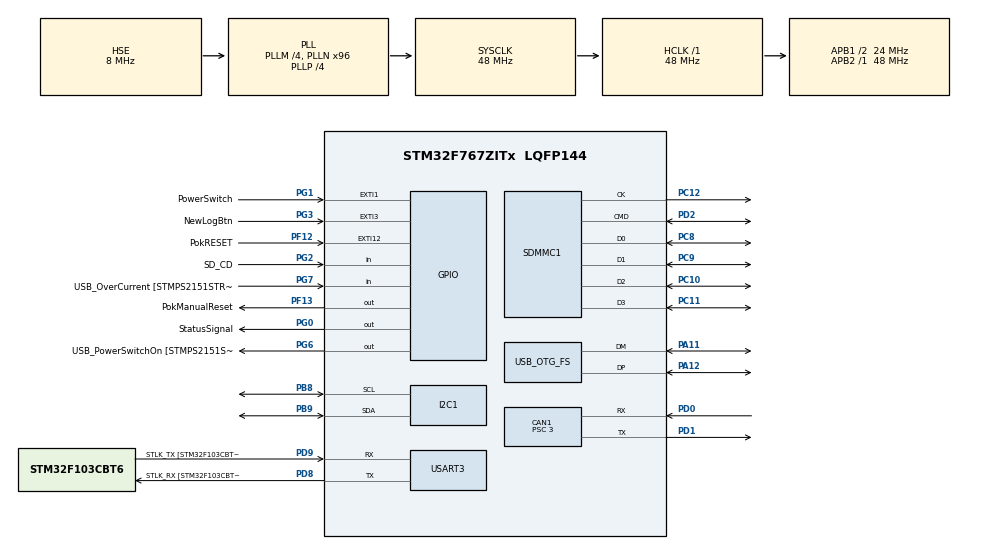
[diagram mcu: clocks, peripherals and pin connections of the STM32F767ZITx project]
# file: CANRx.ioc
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CAN1.BS1=CAN_BS1_13TQ
CAN1.BS2=CAN_BS2_2TQ
CAN1.CalculateBaudRate=500000
CAN1.CalculateTimeBit=2000
CAN1.CalculateTimeQuantum=125.0
CAN1.Prescaler=3
Dma.Request0=SDMMC1_RX
Dma.Request1=SDMMC1_TX
Dma.SDMMC1_RX.0.Direction=DMA_PERIPH_TO_MEMORY
Dma.SDMMC1_RX.0.FIFOMode=DMA_FIFOMODE_ENABLE
Dma.SDMMC1_RX.0.FIFOThreshold=DMA_FIFO_THRESHOLD_FULL
Dma.SDMMC1_RX.0.Instance=DMA2_Stream3
Dma.SDMMC1_RX.0.MemBurst=DMA_MBURST_INC4
Dma.SDMMC1_RX.0.MemDataAlignment=DMA_MDATAALIGN_WORD
Dma.SDMMC1_RX.0.MemInc=DMA_MINC_ENABLE
Dma.SDMMC1_RX.0.Mode=DMA_PFCTRL
Dma.SDMMC1_RX.0.PeriphBurst=DMA_PBURST_INC4
Dma.SDMMC1_RX.0.PeriphDataAlignment=DMA_PDATAALIGN_WORD
Dma.SDMMC1_RX.0.PeriphInc=DMA_PINC_DISABLE
Dma.SDMMC1_RX.0.Priority=DMA_PRIORITY_LOW
Dma.SDMMC1_TX.1.Direction=DMA_MEMORY_TO_PERIPH
Dma.SDMMC1_TX.1.FIFOMode=DMA_FIFOMODE_ENABLE
Dma.SDMMC1_TX.1.FIFOThreshold=DMA_FIFO_THRESHOLD_FULL
Dma.SDMMC1_TX.1.Instance=DMA2_Stream6
Dma.SDMMC1_TX.1.MemBurst=DMA_MBURST_INC4
Dma.SDMMC1_TX.1.MemDataAlignment=DMA_MDATAALIGN_WORD
Dma.SDMMC1_TX.1.MemInc=DMA_MINC_ENABLE
Dma.SDMMC1_TX.1.Mode=DMA_PFCTRL
Dma.SDMMC1_TX.1.PeriphBurst=DMA_PBURST_INC4
Dma.SDMMC1_TX.1.PeriphDataAlignment=DMA_PDATAALIGN_WORD
Dma.SDMMC1_TX.1.PeriphInc=DMA_PINC_DISABLE
Dma.SDMMC1_TX.1.Priority=DMA_PRIORITY_LOW
FATFS.BSP.number=1
FATFS.USE_DMA_CODE_SD=0
FATFS._USE_LFN=1
FATFS0.BSP.STBoard=false
FATFS0.BSP.api=Unknown
FATFS0.BSP.instance=PG2
FATFS0.BSP.ip=GPIO
FATFS0.BSP.mode=Input
FATFS0.BSP.name=Detect_SDIO
FATFS0.BSP.solution=PG2
I2C1.Timing=0x00506682
Mcu.Family=STM32F7
Mcu.Name=STM32F767ZITx
Mcu.Package=LQFP144
NVIC.CAN1_RX0_IRQn=true\:0\:0\:false\:false\:true\:true\:true\:true
NVIC.DMA2_Stream3_IRQn=true\:0\:0\:false\:false\:true\:false\:true\:true
NVIC.DMA2_Stream6_IRQn=true\:0\:0\:false\:false\:true\:false\:true\:true
NVIC.EXTI15_10_IRQn=true\:0\:0\:false\:false\:true\:true\:true\:true
NVIC.EXTI1_IRQn=true\:0\:0\:false\:false\:true\:true\:true\:true
NVIC.EXTI3_IRQn=true\:0\:0\:false\:false\:true\:true\:true\:true
NVIC.OTG_FS_IRQn=true\:0\:0\:false\:false\:true\:true\:true\:true
NVIC.PriorityGroup=NVIC_PRIORITYGROUP_4
NVIC.SDMMC1_IRQn=true\:0\:0\:false\:false\:true\:true\:true\:true
PA11.Mode=Device_Only
PA11.Signal=USB_OTG_FS_DM
PA12.Mode=Device_Only
PA12.Signal=USB_OTG_FS_DP
PA13.GPIO_Label=TMS
PA13.Mode=Serial_Wire
PA13.Signal=SYS_JTMS-SWDIO
PA14.GPIO_Label=TCK
PA14.Mode=Serial_Wire
PA14.Signal=SYS_JTCK-SWCLK
PB8.Mode=I2C
PB8.Signal=I2C1_SCL
PB9.Mode=I2C
PB9.Signal=I2C1_SDA
PC10.Mode=SD_4_bits_Wide_bus
PC10.Signal=SDMMC1_D2
PC11.Mode=SD_4_bits_Wide_bus
PC11.Signal=SDMMC1_D3
PC12.Mode=SD_4_bits_Wide_bus
PC12.Signal=SDMMC1_CK
PC14/OSC32_IN.Signal=RCC_OSC32_IN
PC15/OSC32_OUT.Signal=RCC_OSC32_OUT
PC8.GPIO_Mode=GPIO_MODE_AF_PP
PC8.GPIO_PuPd=GPIO_NOPULL
PC8.GPIO_Speed_High_Default=GPIO_SPEED_FREQ_VERY_HIGH
PC8.Mode=SD_4_bits_Wide_bus
PC8.Signal=SDMMC1_D0
PC9.Mode=SD_4_bits_Wide_bus
PC9.Signal=SDMMC1_D1
PD0.Mode=CAN_Activate
PD0.Signal=CAN1_RX
PD1.Mode=CAN_Activate
PD1.Signal=CAN1_TX
PD2.GPIO_Mode=GPIO_MODE_AF_PP
PD2.GPIO_PuPd=GPIO_NOPULL
PD2.GPIO_Speed_High_Default=GPIO_SPEED_FREQ_VERY_HIGH
PD2.Mode=SD_4_bits_Wide_bus
PD2.Signal=SDMMC1_CMD
PD8.GPIO_Label=STLK_RX [STM32F103CBT6_PA3]
PD8.Mode=Asynchronous
PD8.Signal=USART3_TX
PD9.GPIO_Label=STLK_TX [STM32F103CBT6_PA2]
PD9.Mode=Asynchronous
PD9.Signal=USART3_RX
PE11.Signal=S_CKIN4DFSDM1
PF12.GPIO_Label=PokRESET
PF12.GPIO_ModeDefaultEXTI=GPIO_MODE_IT_RISING_FALLING
PF12.Signal=GPXTI12
PF13.GPIO_Label=PokManualReset
PF13.Signal=GPIO_Output
PG0.GPIO_Label=StatusSignal
PG0.GPIO_ModeDefaultOutputPP=GPIO_MODE_OUTPUT_PP
PG0.GPIO_PuPd=GPIO_NOPULL
PG0.Signal=GPIO_Output
PG1.GPIO_Label=PowerSwitch
PG1.GPIO_ModeDefaultEXTI=GPIO_MODE_IT_RISING_FALLING
PG1.Signal=GPXTI1
PG2.GPIO_Label=SD_CD
PG2.Signal=GPIO_Input
PG3.GPIO_Label=NewLogBtn
PG3.GPIO_ModeDefaultEXTI=GPIO_MODE_IT_RISING
PG3.Signal=GPXTI3
PG6.GPIO_Label=USB_PowerSwitchOn [STMPS2151STR_EN]
PG6.Signal=GPIO_Output
PG7.GPIO_Label=USB_OverCurrent [STMPS2151STR_FAULT]
PG7.Signal=GPIO_Input
PH0/OSC_IN.GPIO_Label=MCO [STM32F103CBT6_PA8]
PH0/OSC_IN.Mode=HSE-External-Oscillator
PH0/OSC_IN.Signal=RCC_OSC_IN
PH1/OSC_OUT.Mode=HSE-External-Oscillator
PH1/OSC_OUT.Signal=RCC_OSC_OUT
ProjectManager.HeapSize=0x200
ProjectManager.StackSize=0x400
ProjectManager.TargetToolchain=STM32CubeIDE
RCC.48MHZClocksFreq_Value=24000000
RCC.AHBFreq_Value=48000000
RCC.APB1CLKDivider=RCC_HCLK_DIV2
RCC.APB1Freq_Value=24000000
RCC.APB1TimFreq_Value=48000000
RCC.APB2Freq_Value=48000000
RCC.APB2TimFreq_Value=48000000
RCC.CortexFreq_Value=48000000
RCC.HCLKFreq_Value=48000000
RCC.HSE_VALUE=8000000
RCC.HSI_VALUE=16000000
RCC.LSE_VALUE=32768
RCC.PLLM=4
RCC.PLLMUL=RCC_PLL_MUL9
RCC.PLLN=96
RCC.PLLP=RCC_PLLP_DIV4
RCC.PLLQ=4
RCC.PRESCALERUSB=RCC_USBCLKSOURCE_PLL_DIV1_5
RCC.RTCClockSelection=RCC_RTCCLKSOURCE_LSE
RCC.SYSCLKFreq_VALUE=48000000
RCC.SYSCLKSource=RCC_SYSCLKSOURCE_PLLCLK
RCC.SYSCLKSourceVirtual=RCC_SYSCLKSOURCE_PLLCLK
RCC.USBFreq_Value=48000000
RCC.VCOOutputFreq_Value=192000000
SDMMC1.ClockDiv=3
SDMMC1.HardwareFlowControl=SDMMC_HARDWARE_FLOW_CONTROL_ENABLE
SH.S_CKIN4DFSDM1.0=DFSDM1_CKIN4
USART3.VirtualMode-Asynchronous=VM_ASYNC
USB_DEVICE.CLASS_NAME_FS=CDC
USB_DEVICE.VirtualMode-CDC_FS=Cdc
USB_DEVICE.VirtualModeFS=Cdc_FS
USB_OTG_FS.VirtualMode=Device_Only
VP_FATFS_VS_SDIO.Mode=SDIO
VP_USB_DEVICE_VS_USB_DEVICE_CDC_FS.Mode=CDC_FS
board=NUCLEO-F767ZI

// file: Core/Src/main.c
/* USER CODE BEGIN Header */
/**
 ******************************************************************************
 * @file           : main.c
 * @brief          : Main program body
 ******************************************************************************
 * @attention
 *
 * Copyright (c) 2023 STMicroelectronics.
 * All rights reserved.
 *
 * This software is licensed under terms that can be found in the LICENSE file
 * in the root directory of this software component.
 * If no LICENSE file comes with this software, it is provided AS-IS.
 *
 ******************************************************************************
 */
/* USER CODE END Header */
#include "main.h"
#include "fatfs.h"
#include "usb_device.h"

/* USER CODE BEGIN Includes */
#include "usbd_cdc_if.h"
#include "ds1307_for_stm32_hal.h"
#include "inttypes.h"
/* USER CODE END Includes */

/* USER CODE BEGIN PM */

#define VERBOSE_DEBUGGING
#define DEFAULT_RETRIES 3
//#define SET_RTC_TIME
/* USER CODE END PM */

CAN_HandleTypeDef hcan1;

I2C_HandleTypeDef hi2c1;

SD_HandleTypeDef hsd1;
DMA_HandleTypeDef hdma_sdmmc1_rx;
DMA_HandleTypeDef hdma_sdmmc1_tx;

UART_HandleTypeDef huart3;

/* USER CODE BEGIN PV */
//Errors of our CAN DECODER
typedef enum {
	SD_CARD_MISSING,
	DMA_INIT_FAILED,
	SDMMC_INIT_FAILED,
	FATFS_INIT_FAILED,
	CAN_FILTER_CONFIG_FAILED,
	HAL_CAN_START_FAILED,
	SD_MOUNTING_FAILED,
	PERIPHERAL_INIT_SUCCESSFUL,
	LOG_CREATION_SUCCESSFUL,
	DATA_DIRECTORY_CREATION_UNSUCCESSFUL,
	NEW_LOG_FILE_CREATION_FAILED
} CANRX_ERROR_T;
/* USER CODE END PV */

void SystemClock_Config(void);
static void MX_GPIO_Init(void);
static void MX_DMA_Init(void);
static void MX_CAN1_Init(void);
static HAL_StatusTypeDef MX_SDMMC1_SD_Init(void);
static void MX_USART3_UART_Init(void);
static void MX_I2C1_Init(void);
/* USER CODE BEGIN PFP */
static HAL_StatusTypeDef CAN_Filter_Config(void);
static CANRX_ERROR_T INIT_PERIPHERALS(void);
static CANRX_ERROR_T CREATE_NEW_LOG(void);
#define PUTCHAR_PROTOTYPE int __io_putchar(int ch)
#define ENCODED_CAN_SIZE_BYTES 37
#define CAN_MESSAGES_PER_BUFFER 512
#define NUM_BUFFERS 4
#define BUFFER_TOTAL_SIZE ENCODED_CAN_SIZE_BYTES*CAN_MESSAGES_PER_BUFFER
#define FILENAME_MAX_BYTES 256
/* USER CODE END PFP */

/* USER CODE BEGIN 0 */
FRESULT res;
DIR dir;		//Directory
FILINFO fno;	// File Info
const char *data_directory = "/CAN_DATA";

uint8_t POWER_SWITCH_PIN;
uint8_t NEW_LOG_FLAG;
uint8_t POWER_OKAY;
char data_buffer[NUM_BUFFERS][BUFFER_TOTAL_SIZE + 1]; // plus one for \00
uint16_t buffer_fill_level[NUM_BUFFERS];
uint8_t buffer_writing_to;
uint8_t buffer_reading_from;
uint8_t CAN_notifications_deactivated = 0;

FRESULT fresult_rc;

uint32_t tick_when_can_deactivated_last = 0;
uint32_t total_ticks_with_can_deactivated = 0;
/**
 * Not used, but previously used for getting milliseconds since epoch
 */
//uint8_t curr_date;
//uint8_t curr_month;
//uint8_t curr_year;
//uint8_t curr_hour;
//uint8_t curr_minute;
//uint8_t curr_second;
//uint32_t starting_tick;
//uint64_t starting_timestamp_ms;

/* USER CODE END 0 */

int main(void)
{

  /* MCU Configuration--------------------------------------------------------*/

  /* Reset of all peripherals, Initializes the Flash interface and the Systick. */
  HAL_Init();

  /* Configure the system clock */
  SystemClock_Config();

  /* Initialize all configured peripherals */
  MX_GPIO_Init();
  MX_DMA_Init();
  MX_CAN1_Init();
  MX_SDMMC1_SD_Init();
  MX_USART3_UART_Init();
  MX_FATFS_Init();
  MX_USB_DEVICE_Init();
  MX_I2C1_Init();
  /* USER CODE BEGIN 2 */
  DS1307_Init(&hi2c1);

#ifdef SET_RTC_TIME
  /**
   * @brief Sets the current day of week.
   * @param dayOfWeek Days since last Sunday, 0 to 6.
   */
  DS1307_SetDayOfWeek(3);

  /**
   * @brief Sets the current day of month.
   * @param date Day of month, 1 to 31.
   */
  DS1307_SetDate(28);

  /**
   * @brief Sets the current month.
   * @param month Month, 1 to 12.
   */
  DS1307_SetMonth(2);

  /**
   * @brief Sets the current year.
   * @param year Year, 2000 to 2099.
   */
  DS1307_SetYear(24);

  /**
   * @brief Sets the current hour, in 24h format.
   * @param hour_24mode Hour in 24h format, 0 to 23.
   */
  DS1307_SetHour(3);

  /**
   * @brief Sets the current minute.
   * @param minute Minute, 0 to 59.
   */
  DS1307_SetMinute(40);

  /**
   * @brief Sets the current second.
   * @param second Second, 0 to 59.
   */
  DS1307_SetSecond(0);

  /**
   * @brief Sets UTC offset.
   * @note  UTC offset is not updated automatically.
   * @param hr UTC hour offset, -12 to 12.
   * @param min UTC minute offset, 0 to 59.
   */
  DS1307_SetTimeZone(0, 0);

#endif

	//States of our CAN DECODER
	typedef enum {
		TURN_ON,
		PERIPHERAL_INIT,
		CREATE_LOG_FILE,
		STANDBY,
		PERIPHERAL_ERROR,
		SWITCH_BUFFER,
		SD_CARD_WRITE,
		SD_CARD_WRITE_ERROR,
		USB_TRANSMIT,
		USB_TRANSMIT_ERROR,
		RESET_BUFFER,
		RESET_STATE,
		POWER_OFF
	} state_t;

	//Starting state is PERIPHERAL_INIT
	state_t state = TURN_ON;
	uint32_t byteswritten; /* File write/read counts */
	uint8_t writing_failed = 0;
  /* USER CODE END 2 */

  /* Infinite loop */
  /* USER CODE BEGIN WHILE */
	while (1) {
		switch (state) {

		/**
		 * State: TURN_ON
		 *
		 * Description: Initializes middleware functions for working with
		 * SD card. Decides if the device is on or off
		 *
		 *
		 * Transition in:
		 * 	Starting state
		 * 	From POWER_OFF if power switch is in the on position
		 * 	From RESET_BUFFER if power switch is in the on position (button was pressed)
		 *
		 * Transition out:
		 * 	If power switch is set to on position -> PERIFPHERAL_INIT
		 * 	else (power switch is set to off) -> POWER_OFF
		 */
		case TURN_ON:
			HAL_GPIO_WritePin(PokManualReset_GPIO_Port, PokManualReset_Pin, GPIO_PIN_SET);
			POWER_SWITCH_PIN = HAL_GPIO_ReadPin(PowerSwitch_GPIO_Port, PowerSwitch_Pin);
			POWER_OKAY = HAL_GPIO_ReadPin(PokRESET_GPIO_Port, PokRESET_Pin);
			state = POWER_SWITCH_PIN ? PERIPHERAL_INIT : POWER_OFF;
			NEW_LOG_FLAG = 0;
			break;

		/**
		 * State: PERIPHERAL_INIT
		 *
		 * Description: Empties data buffers, initializes CAN, and mounts SD card
		 *
		 * Transition in:
		 * 	From TURN_ON when power switch is set to on position
		 *
		 * Transition out:
		 * 	Always -> CREATE_LOG_FILE
		 */
		case PERIPHERAL_INIT:
#ifdef VERBOSE_DEBUGGING
			printf("Initializing with %d buffers storing %d messages\r\n", NUM_BUFFERS, CAN_MESSAGES_PER_BUFFER);
#endif
			// Reset both buffers
			for (int buffer_num = 0; buffer_num < NUM_BUFFERS; buffer_num++) {
				data_buffer[buffer_num][0] = '\00';
				buffer_fill_level[buffer_num] = 0;
			}

			buffer_writing_to = 0;
			buffer_reading_from = 0;
			CAN_notifications_deactivated = 0;

			CANRX_ERROR_T ERROR_CODE = INIT_PERIPHERALS();
			if (ERROR_CODE != PERIPHERAL_INIT_SUCCESSFUL) {
				HAL_CAN_Stop(&hcan1);
				HAL_Delay(1000);
				state = TURN_ON;
				break;
			}
			else {
				state = CREATE_LOG_FILE;
			}
			break;

		/**
		 * State: CREATE_LOG_FILE
		 *
		 * Description: Updates date/time info, names current log with current time, starts to receive CAN messages
		 *
		 * Transition in:
		 * 	From PERIPHERAL_INIT, always
		 *
		 * Transition out:
		 * 	Always -> STANDBY
		 */
		case CREATE_LOG_FILE:
#ifdef VERBOSE_DEBUGGING
			printf("Creating new log file...\r\n");
#endif
			if (CREATE_NEW_LOG() != LOG_CREATION_SUCCESSFUL) {
				state = RESET_STATE;
				break;
			}
			// Starting CANRx interrupts
			if (HAL_CAN_ActivateNotification(&hcan1,
					CAN_IT_RX_FIFO0_MSG_PENDING) != HAL_OK) {
				/* Notification Error */
#ifdef VERBOSE_DEBUGGING
				printf("Failed to activate CAN\r\n");
#endif
				state = RESET_STATE;
				break;
			}

			// Turn Green LED on (turns Red LED off)
#ifdef VERBOSE_DEBUGGING
			printf("Ready to receive messages!\r\n");
#endif

			// purge FIFO in case there are old messages
			while (HAL_CAN_GetRxFifoFillLevel(&hcan1, CAN_RX_FIFO0) != 0) {
				CAN_RxHeaderTypeDef RxHeader;
				uint8_t rcvd_msg[8];
				if (HAL_CAN_GetRxMessage(&hcan1, CAN_RX_FIFO0, &RxHeader, rcvd_msg) != HAL_OK) {
#ifdef VERBOSE_DEBUGGING
						printf("Failed to get message despite message existing\r\n");
#endif
						state = RESET_STATE;
						break;
					}
			}

			HAL_GPIO_WritePin(StatusSignal_GPIO_Port, StatusSignal_Pin, GPIO_PIN_SET); // Successful LED

			state = STANDBY;
			break;

		/**
		 * State: STANDBY
		 *
		 * Description: Waits to either power off, create a new log, or empty a buffer to the SD card
		 *
		 * Transition in:
		 * 	From CREATE_LOG_FILE, always
		 *
		 * Transition out:
		 * 	If power switch is set to off position or the new file button is clicked -> RESET_STATE
		 * 	Else if the current buffer is filled -> SD_CARD_WRITE
		 * 	Else -> STANDBY
		 */
		case STANDBY:
			 if (!POWER_OKAY || !POWER_SWITCH_PIN || NEW_LOG_FLAG) //Power switch is off or new log file
				state = RESET_STATE;
			else if (buffer_fill_level[buffer_reading_from] == CAN_MESSAGES_PER_BUFFER) //Buffer is filled
				state = SD_CARD_WRITE;
			break;

		case PERIPHERAL_ERROR:
			break;

		case SWITCH_BUFFER:
			break;

		/**
		 * State: SD_CARD_WRITE
		 *
		 * Description: Writes the contents of the buffer not currently being filled to the SD card
		 *
		 * Transition in:
		 *	From STANDBY when a buffer fills
		 *
		 * Transition out:
		 *	Always -> USB_TRANSMIT
		 */
		case SD_CARD_WRITE:
			if ((fresult_rc = f_write(&SDFile, data_buffer[buffer_reading_from], BUFFER_TOTAL_SIZE, (void*) &byteswritten)) != FR_OK || byteswritten == 0) {
#ifdef VERBOSE_DEBUGGING
				printf("Writing Failed with rc = %d\r\n", fresult_rc);
#endif
				writing_failed++;

				if (writing_failed == 3) {
#ifdef VERBOSE_DEBUGGING
					printf("Writing Failed 3 Consecutive Times. Rebooting...\r\n");
#endif
					state = RESET_STATE;
					break;
				}

				if(HAL_GPIO_ReadPin(SD_DETECT_GPIO_PORT, SD_DETECT_PIN) != GPIO_PIN_SET)
			    {
#ifdef VERBOSE_DEBUGGING
						printf("SD Card Missing.\r\n");
#endif
						state = RESET_STATE;
						break;
			    }

				break;

			}

			if (buffer_reading_from == NUM_BUFFERS - 1 && (fresult_rc = f_sync(&SDFile)) != FR_OK) {
#ifdef VERBOSE_DEBUGGING
				printf("Sync Failed with rc = %d!\r\n", fresult_rc);
#endif
			}

			writing_failed = 0;
			state = USB_TRANSMIT;
			break;

		case SD_CARD_WRITE_ERROR:
			break;
		/**
		 * State: USB_TRANSMIT
		 *
		 * Description: Write the filled buffer over USB
		 *
		 * Transition in:
		 *	From SD_CARD_WRITE, always
		 *
		 * Transition out:
		 *	Always -> RESET_BUFFER
		 */
		case USB_TRANSMIT:
			CDC_Transmit_FS((uint8_t *) data_buffer[buffer_reading_from], BUFFER_TOTAL_SIZE);
			state = RESET_BUFFER;
			break;

		case USB_TRANSMIT_ERROR:
			break;

		/**
		 * State: RESET_BUFFER
		 *
		 * Description: Prints debugging information then empties the buffer that was written to the SD and USB
		 *
		 * Transition in:
		 *	From USB_TRANSMIT, always
		 *
		 * Transition out:
		 *	Always -> STANDBY
		 */
		case RESET_BUFFER:
			// Reset buffer that was just sent to SD and USB
			data_buffer[buffer_reading_from][0] = '\00';
			buffer_fill_level[buffer_reading_from] = 0;
			buffer_reading_from = (buffer_reading_from + 1) % NUM_BUFFERS;

//			printf("------------------------------------------\r\n");
//			for (int buff_num = 0; buff_num < NUM_BUFFERS; buff_num++) {
//				printf("Buffer[%d]: %d\r\n", buff_num, buffer_fill_level[buff_num]);
//			}

			if (CAN_notifications_deactivated) {
#ifdef VERBOSE_DEBUGGING
				printf("Resuming receive...\r\n");
#endif
				// purge FIFO in case there are old messages
				while (HAL_CAN_GetRxFifoFillLevel(&hcan1, CAN_RX_FIFO0) != 0) {
					CAN_RxHeaderTypeDef RxHeader;
					uint8_t rcvd_msg[8];
					if (HAL_CAN_GetRxMessage(&hcan1, CAN_RX_FIFO0, &RxHeader, rcvd_msg) != HAL_OK) {
#ifdef VERBOSE_DEBUGGING
						printf("Failed to get message despite message existing\r\n");
#endif
						state = RESET_STATE;
						break;
					}
				}

				total_ticks_with_can_deactivated += HAL_GetTick() - tick_when_can_deactivated_last;

#ifdef VERBOSE_DEBUGGING
				printf("Total ticks with CAN notifications deactivated: %ld\r\n", total_ticks_with_can_deactivated);
#endif

				CAN_notifications_deactivated = 0;
				HAL_CAN_ActivateNotification(&hcan1, CAN_IT_RX_FIFO0_MSG_PENDING);
			}

			byteswritten = 0;

			state = STANDBY;
			break;

		/**
		 * State: RESET_STATE
		 *
		 * Description: Disable CAN interrupt, close the log file, and unmount the SD
		 *
		 * Transition in:
		 *	From STANDBY if the new file button was pressed or the switch was left in the power off position
		 *
		 * Transition out:
		 *	If power switch is in off position -> POWER_OFF
		 *	Else (button was pressed) -> TURN_ON
		 */
		case RESET_STATE:
			// Turn off CAN interrupt
			HAL_CAN_DeactivateNotification(&hcan1, CAN_IT_RX_FIFO0_MSG_PENDING);
			HAL_CAN_Stop(&hcan1);

			// Turn Red LED on (Green LED turns off)
			HAL_GPIO_WritePin(StatusSignal_GPIO_Port, StatusSignal_Pin, GPIO_PIN_RESET); //Red LED

			f_close(&SDFile);
			f_mount(0, (TCHAR const*) NULL, 0);
			state = TURN_ON; // button was pressed

			if (!POWER_OKAY || !POWER_SWITCH_PIN) {
				state = POWER_OFF;
#ifdef VERBOSE_DEBUGGING
				printf("Turning off!\r\n");
#endif

			}

			break;

		/**
		 * State: POWER_OFF
		 *
		 * Description: Stay in this state until the power switch is put in the on position
		 *
		 * Transition in:
		 *	From RESET_STATE, always
		 *
		 * Transition out:
		 *	If power switch is in the on position -> TURN_ON
		 *	Else -> POWER_OFF
		 */
		case POWER_OFF:
			if (!POWER_OKAY){
				break;
			}
			if (POWER_SWITCH_PIN) {
				state = TURN_ON;

#ifdef VERBOSE_DEBUGGING
				printf("\r\nTurning back on!\r\n");
#endif
			}
			break;

		default:
			HAL_GPIO_WritePin(StatusSignal_GPIO_Port, StatusSignal_Pin,
								GPIO_PIN_RESET); // Red LED

#ifdef VERBOSE_DEBUGGING
			printf("CAN logger in unknown state!\r\n");
#endif
			break;

		}
	}
	return 0;

    /* USER CODE END WHILE */

}

void SystemClock_Config(void)
{
  RCC_OscInitTypeDef RCC_OscInitStruct = {0};
  RCC_ClkInitTypeDef RCC_ClkInitStruct = {0};

  /** Configure the main internal regulator output voltage
  */
  __HAL_RCC_PWR_CLK_ENABLE();
  __HAL_PWR_VOLTAGESCALING_CONFIG(PWR_REGULATOR_VOLTAGE_SCALE3);

  /** Initializes the RCC Oscillators according to the specified parameters
  * in the RCC_OscInitTypeDef structure.
  */
  RCC_OscInitStruct.OscillatorType = RCC_OSCILLATORTYPE_HSE;
  RCC_OscInitStruct.HSEState = RCC_HSE_ON;
  RCC_OscInitStruct.PLL.PLLState = RCC_PLL_ON;
  RCC_OscInitStruct.PLL.PLLSource = RCC_PLLSOURCE_HSE;
  RCC_OscInitStruct.PLL.PLLM = 4;
  RCC_OscInitStruct.PLL.PLLN = 96;
  RCC_OscInitStruct.PLL.PLLP = RCC_PLLP_DIV4;
  RCC_OscInitStruct.PLL.PLLQ = 4;
  RCC_OscInitStruct.PLL.PLLR = 2;
  if (HAL_RCC_OscConfig(&RCC_OscInitStruct) != HAL_OK)
  {
    Error_Handler();
  }

  /** Initializes the CPU, AHB and APB buses clocks
  */
  RCC_ClkInitStruct.ClockType = RCC_CLOCKTYPE_HCLK|RCC_CLOCKTYPE_SYSCLK
                              |RCC_CLOCKTYPE_PCLK1|RCC_CLOCKTYPE_PCLK2;
  RCC_ClkInitStruct.SYSCLKSource = RCC_SYSCLKSOURCE_PLLCLK;
  RCC_ClkInitStruct.AHBCLKDivider = RCC_SYSCLK_DIV1;
  RCC_ClkInitStruct.APB1CLKDivider = RCC_HCLK_DIV2;
  RCC_ClkInitStruct.APB2CLKDivider = RCC_HCLK_DIV1;

  if (HAL_RCC_ClockConfig(&RCC_ClkInitStruct, FLASH_LATENCY_1) != HAL_OK)
  {
    Error_Handler();
  }
}

static void MX_CAN1_Init(void)
{

  hcan1.Instance = CAN1;
  hcan1.Init.Prescaler = 3;
  hcan1.Init.Mode = CAN_MODE_NORMAL;
  hcan1.Init.SyncJumpWidth = CAN_SJW_1TQ;
  hcan1.Init.TimeSeg1 = CAN_BS1_13TQ;
  hcan1.Init.TimeSeg2 = CAN_BS2_2TQ;
  hcan1.Init.TimeTriggeredMode = DISABLE;
  hcan1.Init.AutoBusOff = DISABLE;
  hcan1.Init.AutoWakeUp = DISABLE;
  hcan1.Init.AutoRetransmission = DISABLE;
  hcan1.Init.ReceiveFifoLocked = DISABLE;
  hcan1.Init.TransmitFifoPriority = DISABLE;
  if (HAL_CAN_Init(&hcan1) != HAL_OK)
  {
    Error_Handler();
  }

}

static void MX_I2C1_Init(void)
{

  hi2c1.Instance = I2C1;
  hi2c1.Init.Timing = 0x00506682;
  hi2c1.Init.OwnAddress1 = 0;
  hi2c1.Init.AddressingMode = I2C_ADDRESSINGMODE_7BIT;
  hi2c1.Init.DualAddressMode = I2C_DUALADDRESS_DISABLE;
  hi2c1.Init.OwnAddress2 = 0;
  hi2c1.Init.OwnAddress2Masks = I2C_OA2_NOMASK;
  hi2c1.Init.GeneralCallMode = I2C_GENERALCALL_DISABLE;
  hi2c1.Init.NoStretchMode = I2C_NOSTRETCH_DISABLE;
  if (HAL_I2C_Init(&hi2c1) != HAL_OK)
  {
    Error_Handler();
  }

  /** Configure Analogue filter
  */
  if (HAL_I2CEx_ConfigAnalogFilter(&hi2c1, I2C_ANALOGFILTER_ENABLE) != HAL_OK)
  {
    Error_Handler();
  }

  /** Configure Digital filter
  */
  if (HAL_I2CEx_ConfigDigitalFilter(&hi2c1, 0) != HAL_OK)
  {
    Error_Handler();
  }

}

static HAL_StatusTypeDef MX_SDMMC1_SD_Init(void)
{

  hsd1.Instance = SDMMC1;
  hsd1.Init.ClockEdge = SDMMC_CLOCK_EDGE_RISING;
  hsd1.Init.ClockBypass = SDMMC_CLOCK_BYPASS_DISABLE;
  hsd1.Init.ClockPowerSave = SDMMC_CLOCK_POWER_SAVE_DISABLE;
  hsd1.Init.BusWide = SDMMC_BUS_WIDE_1B;
  hsd1.Init.HardwareFlowControl = SDMMC_HARDWARE_FLOW_CONTROL_ENABLE;
  hsd1.Init.ClockDiv = 3;
  /* USER CODE BEGIN SDMMC1_Init 2 */
  return HAL_SD_Init(&hsd1);
  /* USER CODE END SDMMC1_Init 2 */

}

static void MX_USART3_UART_Init(void)
{

  huart3.Instance = USART3;
  huart3.Init.BaudRate = 115200;
  huart3.Init.WordLength = UART_WORDLENGTH_8B;
  huart3.Init.StopBits = UART_STOPBITS_1;
  huart3.Init.Parity = UART_PARITY_NONE;
  huart3.Init.Mode = UART_MODE_TX_RX;
  huart3.Init.HwFlowCtl = UART_HWCONTROL_NONE;
  huart3.Init.OverSampling = UART_OVERSAMPLING_16;
  huart3.Init.OneBitSampling = UART_ONE_BIT_SAMPLE_DISABLE;
  huart3.AdvancedInit.AdvFeatureInit = UART_ADVFEATURE_NO_INIT;
  if (HAL_UART_Init(&huart3) != HAL_OK)
  {
    Error_Handler();
  }

}

static void MX_DMA_Init(void)
{

  /* DMA controller clock enable */
  __HAL_RCC_DMA2_CLK_ENABLE();

  /* DMA interrupt init */
  /* DMA2_Stream3_IRQn interrupt configuration */
  HAL_NVIC_SetPriority(DMA2_Stream3_IRQn, 0, 0);
  HAL_NVIC_EnableIRQ(DMA2_Stream3_IRQn);
  /* DMA2_Stream6_IRQn interrupt configuration */
  HAL_NVIC_SetPriority(DMA2_Stream6_IRQn, 0, 0);
  HAL_NVIC_EnableIRQ(DMA2_Stream6_IRQn);

}

static void MX_GPIO_Init(void)
{
  GPIO_InitTypeDef GPIO_InitStruct = {0};

  /* GPIO Ports Clock Enable */
  __HAL_RCC_GPIOC_CLK_ENABLE();
  __HAL_RCC_GPIOH_CLK_ENABLE();
  __HAL_RCC_GPIOF_CLK_ENABLE();
  __HAL_RCC_GPIOG_CLK_ENABLE();
  __HAL_RCC_GPIOE_CLK_ENABLE();
  __HAL_RCC_GPIOD_CLK_ENABLE();
  __HAL_RCC_GPIOA_CLK_ENABLE();
  __HAL_RCC_GPIOB_CLK_ENABLE();

  /*Configure GPIO pin Output Level */
  HAL_GPIO_WritePin(PokManualReset_GPIO_Port, PokManualReset_Pin, GPIO_PIN_RESET);

  /*Configure GPIO pin Output Level */
  HAL_GPIO_WritePin(GPIOG, StatusSignal_Pin|USB_PowerSwitchOn_Pin, GPIO_PIN_RESET);

  /*Configure GPIO pin : PokRESET_Pin */
  GPIO_InitStruct.Pin = PokRESET_Pin;
  GPIO_InitStruct.Mode = GPIO_MODE_IT_RISING_FALLING;
  GPIO_InitStruct.Pull = GPIO_NOPULL;
  HAL_GPIO_Init(PokRESET_GPIO_Port, &GPIO_InitStruct);

  /*Configure GPIO pin : PokManualReset_Pin */
  GPIO_InitStruct.Pin = PokManualReset_Pin;
  GPIO_InitStruct.Mode = GPIO_MODE_OUTPUT_PP;
  GPIO_InitStruct.Pull = GPIO_NOPULL;
  GPIO_InitStruct.Speed = GPIO_SPEED_FREQ_LOW;
  HAL_GPIO_Init(PokManualReset_GPIO_Port, &GPIO_InitStruct);

  /*Configure GPIO pins : StatusSignal_Pin USB_PowerSwitchOn_Pin */
  GPIO_InitStruct.Pin = StatusSignal_Pin|USB_PowerSwitchOn_Pin;
  GPIO_InitStruct.Mode = GPIO_MODE_OUTPUT_PP;
  GPIO_InitStruct.Pull = GPIO_NOPULL;
  GPIO_InitStruct.Speed = GPIO_SPEED_FREQ_LOW;
  HAL_GPIO_Init(GPIOG, &GPIO_InitStruct);

  /*Configure GPIO pin : PowerSwitch_Pin */
  GPIO_InitStruct.Pin = PowerSwitch_Pin;
  GPIO_InitStruct.Mode = GPIO_MODE_IT_RISING_FALLING;
  GPIO_InitStruct.Pull = GPIO_NOPULL;
  HAL_GPIO_Init(PowerSwitch_GPIO_Port, &GPIO_InitStruct);

  /*Configure GPIO pin : PE11 */
  GPIO_InitStruct.Pin = GPIO_PIN_11;
  GPIO_InitStruct.Mode = GPIO_MODE_AF_PP;
  GPIO_InitStruct.Pull = GPIO_NOPULL;
  GPIO_InitStruct.Speed = GPIO_SPEED_FREQ_LOW;
  GPIO_InitStruct.Alternate = GPIO_AF6_DFSDM1;
  HAL_GPIO_Init(GPIOE, &GPIO_InitStruct);

  /*Configure GPIO pins : SD_CD_Pin USB_OverCurrent_Pin */
  GPIO_InitStruct.Pin = SD_CD_Pin|USB_OverCurrent_Pin;
  GPIO_InitStruct.Mode = GPIO_MODE_INPUT;
  GPIO_InitStruct.Pull = GPIO_NOPULL;
  HAL_GPIO_Init(GPIOG, &GPIO_InitStruct);

  /*Configure GPIO pin : NewLogBtn_Pin */
  GPIO_InitStruct.Pin = NewLogBtn_Pin;
  GPIO_InitStruct.Mode = GPIO_MODE_IT_RISING;
  GPIO_InitStruct.Pull = GPIO_NOPULL;
  HAL_GPIO_Init(NewLogBtn_GPIO_Port, &GPIO_InitStruct);

  /* EXTI interrupt init*/
  HAL_NVIC_SetPriority(EXTI1_IRQn, 0, 0);
  HAL_NVIC_EnableIRQ(EXTI1_IRQn);

  HAL_NVIC_SetPriority(EXTI3_IRQn, 0, 0);
  HAL_NVIC_EnableIRQ(EXTI3_IRQn);

  HAL_NVIC_SetPriority(EXTI15_10_IRQn, 0, 0);
  HAL_NVIC_EnableIRQ(EXTI15_10_IRQn);

}

/* USER CODE BEGIN 4 */

static CANRX_ERROR_T INIT_PERIPHERALS(void) {
#ifdef VERBOSE_DEBUGGING
	printf("Initializing Peripherals...\r\n");
#endif

	 if(HAL_GPIO_ReadPin(SD_DETECT_GPIO_PORT, SD_DETECT_PIN) != GPIO_PIN_SET)
    {
#ifdef VERBOSE_DEBUGGING
		 printf("SD Card Missing.\r\n");
#endif
        return SD_CARD_MISSING;
    }

//	if (MX_DMA_Init() != HAL_OK) {
//#ifdef VERBOSE_DEBUGGING
//		 printf("DMA Initialization Failed.\r\n");
//#endif
//		return DMA_INIT_FAILED;
//	}
//#ifdef VERBOSE_DEBUGGING
//		 printf("DMA Initialization Successful.\r\n");
//#endif

	if (MX_SDMMC1_SD_Init() != HAL_OK) {
#ifdef VERBOSE_DEBUGGING
		 printf("SDMMC Initialization Failed.\r\n");
#endif
		return SDMMC_INIT_FAILED;
	}
#ifdef VERBOSE_DEBUGGING
		 printf("SDMMC Initialization Successful.\r\n");
#endif

	if (!MX_FATFS_Init()) {
#ifdef VERBOSE_DEBUGGING
		 printf("FATFS Initialization Failed.\r\n");
#endif
		return FATFS_INIT_FAILED;
	}
#ifdef VERBOSE_DEBUGGING
		 printf("FATFS Initialization Successful.\r\n");
#endif
	// Initializing CAN
	if (HAL_CAN_Start(&hcan1) != HAL_OK) {
#ifdef VERBOSE_DEBUGGING
		printf("CAN could not start.\r\n");
#endif
		return HAL_CAN_START_FAILED;
	}
	if (CAN_Filter_Config() != HAL_OK) {
#ifdef VERBOSE_DEBUGGING
		printf("CAN filter failed to set.\r\n");
#endif
		return CAN_FILTER_CONFIG_FAILED;
	}
#ifdef VERBOSE_DEBUGGING
	printf("CAN initialization succeeded...\r\n");
#endif

	// Mount and Format SD Card
	if (f_mount(&SDFatFS, SDPath, 1) != FR_OK) {
#ifdef VERBOSE_DEBUGGING
		printf("Mounting failed!\r\n");
#endif
		return SD_MOUNTING_FAILED;
	}
#ifdef VERBOSE_DEBUGGING
		printf("SD Mounting Successful...\r\n");
#endif

	return PERIPHERAL_INIT_SUCCESSFUL;
}

void Get_and_Append_CAN_Message_to_Buffer() {
	CAN_RxHeaderTypeDef RxHeader;
	uint8_t rcvd_msg[8];

	if (HAL_CAN_GetRxMessage(&hcan1, CAN_RX_FIFO0, &RxHeader, rcvd_msg)
			!= HAL_OK){
#ifdef VERBOSE_DEBUGGING
		printf("Failed to get CAN message\r\n");
#endif
		Error_Handler();
	}

//	uint64_t curr_timestamp_ms = starting_timestamp_ms + ((uint64_t) (HAL_GetTick() - starting_tick));

	// snprintf includes the null terminating string
	char encodedData[ENCODED_CAN_SIZE_BYTES+1];

	// consider writing raw bytes
	snprintf(encodedData, ENCODED_CAN_SIZE_BYTES + 1,
			"%010ld#%08lX#%02X%02X%02X%02X%02X%02X%02X%02X\n",
			HAL_GetTick(),
			RxHeader.ExtId,
			rcvd_msg[0], rcvd_msg[1], rcvd_msg[2], rcvd_msg[3],
			rcvd_msg[4], rcvd_msg[5], rcvd_msg[6], rcvd_msg[7]);

	strcat(data_buffer[buffer_writing_to], encodedData);
	buffer_fill_level[buffer_writing_to]++;
}

HAL_StatusTypeDef CAN_Filter_Config(void) {
	CAN_FilterTypeDef filter;

	uint32_t filter_mask = 0x00000000;
	uint32_t filter_id = 0x000A0000;

	filter.FilterIdHigh = ((filter_id << 5) | (filter_id >> (32 - 5))) & 0xFFFF; // STID[10:0] & EXTID[17:13]
	filter.FilterIdLow = (filter_id >> (11 - 3)) & 0xFFF8; // EXID[12:5] & 3 Reserved bits
	filter.FilterMaskIdHigh = ((filter_mask << 5) | (filter_mask >> (32 - 5)))
			& 0xFFFF;
	filter.FilterMaskIdLow = (filter_mask >> (11 - 3)) & 0xFFF8;

	filter.FilterFIFOAssignment = CAN_RX_FIFO0;
	filter.FilterBank = 0;
	filter.FilterMode = CAN_FILTERMODE_IDMASK;
	filter.FilterScale = CAN_FILTERSCALE_32BIT;
	filter.FilterActivation = ENABLE;

	return HAL_CAN_ConfigFilter(&hcan1, &filter);
}

/**
 * Not used, but previously used for getting milliseconds since epoch
 */
//uint64_t get_total_days_this_year(uint8_t year, uint8_t month, uint8_t day) {
//	uint64_t total_days = day;
//
//	// months that have passed
//	if (month > 1) total_days += 31; // january
//	if (month > 2) total_days += 28; // february, handle leap days separately
//	if (month > 3) total_days += 31; // march
//	if (month > 4) total_days += 30; // april
//	if (month > 5) total_days += 31; // may
//	if (month > 6) total_days += 30; // june
//	if (month > 7) total_days += 31; // july
//	if (month > 8) total_days += 31; // august
//	if (month > 9) total_days += 30; // september
//	if (month > 10) total_days += 31; // october
//	if (month > 11) total_days += 30; // november
//
//	// 2000 divides 4, 100, and 400 so this is fine
//	if (year % 4 == 0 && (year % 100 != 0 || year % 400 == 0) && month > 2) total_days++;
//
//	return total_days;
//}
//
//uint64_t get_leap_days_from_previous_years(uint8_t year) {
//	uint64_t prev_year = ((uint64_t) year) + 2000 - 1;
//
//	// After the year 2100, this is off by one day, but we ignore that...
//	return ((prev_year - 1972) / 4) + 1;
//}

static CANRX_ERROR_T CREATE_NEW_LOG(void) {

	// Update current date/time info
	uint8_t curr_date = DS1307_GetDate();
	uint8_t curr_month = DS1307_GetMonth();
	uint8_t curr_year = DS1307_GetYear();
	uint8_t curr_hour = DS1307_GetHour();
	uint8_t curr_minute = DS1307_GetMinute();
	uint8_t curr_second = DS1307_GetSecond();
//	uint8_t starting_tick = HAL_GetTick();

	/**
	 * Not used, but previously used for getting milliseconds since epoch
	 */
//	uint64_t complete_years_since_1970 = ((uint64_t) curr_year) + 2000 - 1970;
//
//	// first in seconds
//	uint64_t starting_timestamp_sec = (uint64_t) curr_second + // seconds
//			((uint64_t) curr_minute)*60 + // minutes
//			((uint64_t) curr_hour)*3600 + // hours
//			(get_total_days_this_year(curr_year, curr_month, curr_date))*86400 + // days this year
//			complete_years_since_1970*31536000 + // years completed since 1970
//			get_leap_days_from_previous_years(curr_year) * 86400 +
//			4 * 3600; // add 4 hours to go from EDT to UTC
//
//
//	// now in milliseconds
//	starting_timestamp_ms = starting_timestamp_sec * 1000 + ((uint64_t) (starting_tick - HAL_GetTick()));

#ifdef VERBOSE_DEBUGGING
	printf("Starting new log at %02d-%02d-20%02dT%02d:%02d:%02dZ\r\n",
			curr_year, curr_month, curr_date, curr_hour, curr_minute, curr_second);
#endif
	if (f_stat(data_directory, &fno) != FR_OK) {
#ifdef VERBOSE_DEBUGGING
		printf("/CAN_DATA directory not present attempting to create it...\n\r");
#endif
		uint8_t RETRY_COUNT = 0;
		while (RETRY_COUNT < DEFAULT_RETRIES) {
			if (f_mkdir(data_directory) != FR_OK) {
#ifdef VERBOSE_DEBUGGING
				printf("Failed to create /CAN_DATA Directory. Retrying...\n\r");
#endif
				RETRY_COUNT++;
			}
			else {
#ifdef VERBOSE_DEBUGGING
				printf("Successfully created /CAN_DATA Directory\n\r");
#endif
				break;
			}
		}
		if (RETRY_COUNT == 3) {
#ifdef VERBOSE_DEBUGGING
			printf("Unable to create /CAN_DATA Directory\n\r");
#endif
			return DATA_DIRECTORY_CREATION_UNSUCCESSFUL;
		}
	}

	// Creating new filename
	TCHAR filename[FILENAME_MAX_BYTES];
	snprintf(filename, FILENAME_MAX_BYTES, "%s/20%02d-%02d-%02dT%02d-%02d-%02dZ.log",
			data_directory,
			curr_year, curr_month, curr_date,
			curr_hour, curr_minute, curr_second);

#ifdef VERBOSE_DEBUGGING
	printf("New log name: %s \r\n", filename);
#endif
	uint8_t RETRY_COUNT = 0;
	while (RETRY_COUNT < DEFAULT_RETRIES) {
		RETRY_COUNT++;
	// Open file for writing (Create)
		if (f_open(&SDFile, filename, FA_CREATE_ALWAYS | FA_WRITE)
				!= FR_OK) {
#ifdef VERBOSE_DEBUGGING
			printf("Failed to create new log file: %s. Retrying...!\r\n", filename);
#endif
		}
		else {
			// http://elm-chan.org/fsw/ff/doc/utime.html
//			FILINFO date_time_info;
//			date_time_info.fdate = (WORD)(((((WORD) curr_year) + 20) * 512U) | ((WORD) curr_month) * 32U | (WORD) curr_date);
//			date_time_info.ftime = (WORD)(((WORD) curr_hour) * 2048U | ((WORD) curr_minute) * 32U | ((WORD) curr_second) / 2U);
//			f_utime(filename, &date_time_info);
			break;
		}
	}
	if (RETRY_COUNT == 3) {
#ifdef VERBOSE_DEBUGGING
		printf("Failed to create new log file: %s\r\n", filename);
#endif
		return NEW_LOG_FILE_CREATION_FAILED;
	}
#ifdef VERBOSE_DEBUGGING
	printf("Successfully created new log file: %s ...\r\n", filename);
#endif
	return LOG_CREATION_SUCCESSFUL;
}

void HAL_CAN_RxFifo0MsgPendingCallback(CAN_HandleTypeDef *hcan) {
	if (buffer_fill_level[buffer_writing_to] == (CAN_MESSAGES_PER_BUFFER-1)
			&& buffer_fill_level[(buffer_writing_to + 1) % NUM_BUFFERS] == CAN_MESSAGES_PER_BUFFER)
	{
#ifdef VERBOSE_DEBUGGING
		printf("\r\nBuffers are full... passing messages\r\n");
#endif
		CAN_notifications_deactivated = 1;
		HAL_CAN_DeactivateNotification(&hcan1, CAN_IT_RX_FIFO0_MSG_PENDING);

		tick_when_can_deactivated_last = HAL_GetTick();
	}
	else {
		Get_and_Append_CAN_Message_to_Buffer();

		if (buffer_fill_level[buffer_writing_to] == CAN_MESSAGES_PER_BUFFER) {
			buffer_writing_to = (buffer_writing_to + 1) % NUM_BUFFERS;
		}
	}
}

/**
 * @brief  Retargets the C library printf function to the USART.
 * @param  None
 * @retval None
 */
PUTCHAR_PROTOTYPE {
	/* Place your implementation of fputc here */
	/* e.g. write a character to the USART1 and Loop until the end of transmission */
	HAL_UART_Transmit(&huart3, (uint8_t*) &ch, 1, 0xFFFF);

	return ch;
}

/* USER CODE END 4 */

void Error_Handler(void)
{
  /* USER CODE BEGIN Error_Handler_Debug */
	/* User can add his own implementation to report the HAL error return state */
	__disable_irq();
#ifdef VERBOSE_DEBUGGING
	printf("\r\nError Handler Reached\r\n");
#endif
	HAL_GPIO_WritePin(StatusSignal_GPIO_Port, StatusSignal_Pin, GPIO_PIN_RESET);

	while (1) {
	}
  /* USER CODE END Error_Handler_Debug */
}
